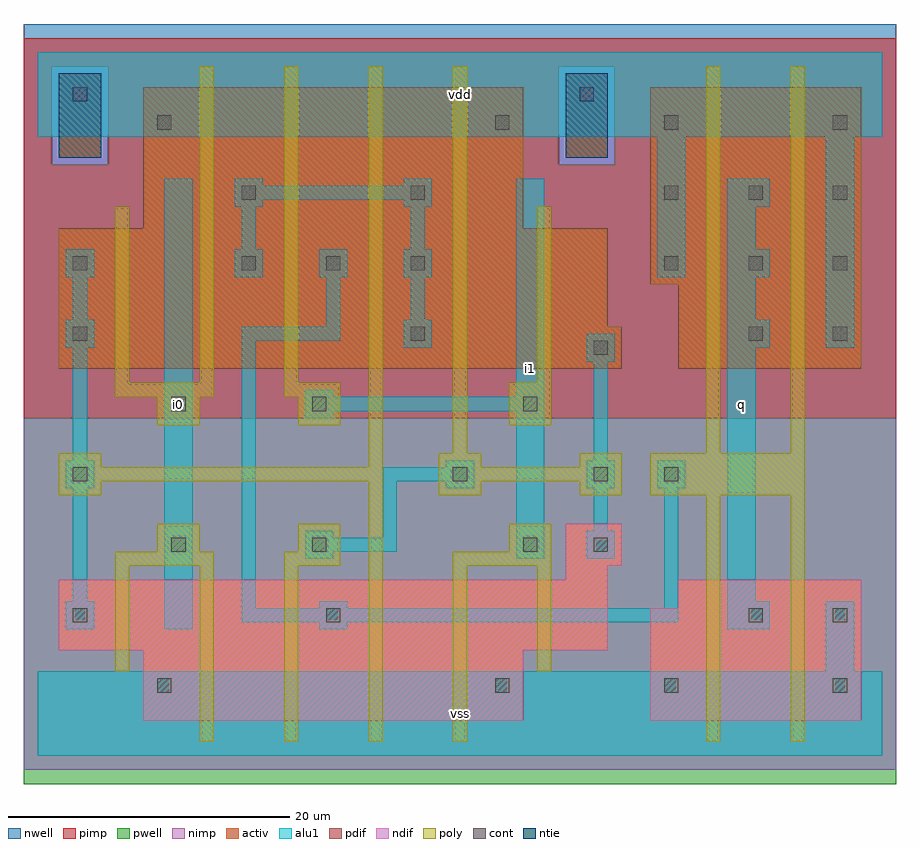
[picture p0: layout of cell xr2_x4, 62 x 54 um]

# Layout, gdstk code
import gdstk
lib = gdstk.Library(unit=1e-6, precision=1e-09)
def R(c, l, rs):  # rectangles x0, y0, x1, y1
    for r in rs: c.add(gdstk.rectangle(r[:2], r[2:], *l))
def A(c, l, x, y, w, h, nx, ny, dx, dy):  # array of equal rectangles
    R(c, l, [(x+i*dx, y+j*dy, x+i*dx+w, y+j*dy+h) for i in range(nx) for j in range(ny)])
ndif = (3, 0)
pdif = (4, 0)
ntie = (5, 0)
cont = (25, 0)
pwell = (41, 0)
nwell = (42, 0)
activ = (43, 0)
pimp = (44, 0)
nimp = (45, 0)
poly = (46, 0)
alu1 = (49, 0)

xr2_x4 = lib.new_cell('xr2_x4')
R(xr2_x4, ndif, [(7.5,2.5,34.5,7.5), (43.5,2.5,58.5,10.5), (1.5,7.5,40.5,12.5), (45.5,10.5,58.5,12.5), (37.5,12.5,40.5,13.5), (37.5,13.5,41.5,16.5)])
R(xr2_x4, pdif, [(1.5,27.5,41.5,30.5), (45.5,27.5,58.5,33.5), (1.5,30.5,40.5,37.5), (43.5,33.5,58.5,47.5), (7.5,37.5,34.5,47.5)])
R(xr2_x4, ntie, [(1.5,42.5,4.5,48.5), (37.5,42.5,40.5,48.5)])
A(xr2_x4, cont, 32.5, 4.5, 1, 1, 3, 2, 12, 40)
A(xr2_x4, cont, 2.5, 29.5, 1, 1, 3, 1, 24, 0)
A(xr2_x4, cont, 14.5, 34.5, 1, 1, 3, 1, 6, 0)
A(xr2_x4, cont, 44.5, 34.5, 1, 1, 3, 2, 6, 5)
R(xr2_x4, cont, [(8.5,4.5,9.5,5.5), (2.5,9.5,3.5,10.5), (20.5,9.5,21.5,10.5), (50.5,9.5,51.5,10.5), (56.5,9.5,57.5,10.5), (9.5,14.5,10.5,15.5), (19.5,14.5,20.5,15.5), (34.5,14.5,35.5,15.5), (39.5,14.5,40.5,15.5), (2.5,19.5,3.5,20.5), (29.5,19.5,30.5,20.5), (39.5,19.5,40.5,20.5), (44.5,19.5,45.5,20.5), (9.5,24.5,10.5,25.5), (19.5,24.5,20.5,25.5), (34.5,24.5,35.5,25.5), (39.5,28.5,40.5,29.5), (56.5,29.5,57.5,30.5), (2.5,34.5,3.5,35.5), (14.5,39.5,15.5,40.5), (26.5,39.5,27.5,40.5), (8.5,44.5,9.5,45.5), (2.5,46.5,3.5,47.5), (38.5,46.5,39.5,47.5)])
R(xr2_x4, pwell, [(-1,-2,61,24)])
R(xr2_x4, nwell, [(-1,24,61,52)])
R(xr2_x4, activ, [(7.5,2.5,34.5,7.5), (43.5,2.5,58.5,10.5), (1.5,7.5,40.5,12.5), (45.5,10.5,58.5,12.5), (37.5,12.5,40.5,13.5), (37.5,13.5,41.5,16.5), (1.5,27.5,41.5,30.5), (45.5,27.5,58.5,33.5), (1.5,30.5,40.5,37.5), (43.5,33.5,58.5,47.5), (7.5,37.5,34.5,47.5), (1.5,42.5,4.5,48.5), (37.5,42.5,40.5,48.5)])
R(xr2_x4, pimp, [(-1,24,61,42), (-1,42,1,49), (5,42,37,49), (41,42,61,49), (-1,49,61,51)])
R(xr2_x4, nimp, [(-1,-1,61,24), (1,42,5,49), (37,42,41,49)])
R(xr2_x4, poly, [(11.5,1,12.5,13.5), (17.5,1,18.5,13.5), (23.5,1,24.5,19.5), (29.5,1,30.5,13.5), (47.5,1,48.5,18.5), (53.5,1,54.5,18.5), (5.5,6,6.5,13.5), (35.5,6,36.5,13.5), (5.5,13.5,12.5,14.5), (17.5,13.5,21.5,14.5), (29.5,13.5,36.5,14.5), (8.5,14.5,11.5,16.5), (18.5,14.5,21.5,16.5), (33.5,14.5,36.5,16.5), (1.5,18.5,4.5,19.5), (28.5,18.5,31.5,19.5), (38.5,18.5,41.5,19.5), (43.5,18.5,54.5,21.5), (1.5,19.5,24.5,20.5), (28.5,19.5,41.5,20.5), (1.5,20.5,4.5,21.5), (23.5,20.5,24.5,49), (28.5,20.5,31.5,21.5), (38.5,20.5,41.5,21.5), (29.5,21.5,30.5,49), (47.5,21.5,48.5,49), (53.5,21.5,54.5,49), (8.5,23.5,11.5,25.5), (18.5,23.5,21.5,25.5), (33.5,23.5,36.5,26.5), (5.5,25.5,12.5,26.5), (17.5,25.5,21.5,26.5), (5.5,26.5,6.5,39), (11.5,26.5,12.5,49), (17.5,26.5,18.5,49), (35.5,26.5,36.5,39)])
A(xr2_x4, alu1, 2, 9, 2, 2, 1, 3, 0, 10)
A(xr2_x4, alu1, 49, 29, 3, 2, 1, 3, 0, 5)
A(xr2_x4, alu1, 14, 34, 2, 2, 3, 1, 6, 0)
R(xr2_x4, alu1, [(0,0,60,6), (56,6,58,11), (9,9,11,41), (20,9,22,9.5), (49,9,52,11), (14.5,9.5,45.5,10.5), (14.5,10.5,15.5,29.5), (20,10.5,22,11), (44.5,10.5,45.5,19), (2.5,11,3.5,19), (49,11,51,29), (19,14,21,14.5), (34,14,36,24.5), (39,14,41,16), (19,14.5,25.5,15.5), (19,15.5,21,16), (24.5,15.5,25.5,19.5), (39.5,16,40.5,19), (29,19,31,19.5), (39,19,41,21), (44,19,46,21), (24.5,19.5,31,20.5), (29,20.5,31,21), (2.5,21,3.5,29), (39.5,21,40.5,28), (19,24,21,24.5), (19,24.5,36,25.5), (19,25.5,21,26), (34,25.5,36,41), (39,28,41,30), (26,29,28,31), (56,29,58,44), (14.5,29.5,21.5,30.5), (20.5,30.5,21.5,34), (2.5,31,3.5,34), (26.5,31,27.5,34), (49,31,51,34), (2,34,4,36), (44,34,46,44), (14.5,36,15.5,39), (26.5,36,27.5,39), (49,36,51,39), (14,39,16,39.5), (26,39,28,39.5), (14,39.5,28,40.5), (14,40.5,16,41), (26,40.5,28,41), (0,44,60,50)])
xr2_x4.add(gdstk.Label('i0', (10,25), layer=49, texttype=0))
xr2_x4.add(gdstk.Label('vss', (30,3), layer=49, texttype=0))
xr2_x4.add(gdstk.Label('vdd', (30,47), layer=49, texttype=0))
xr2_x4.add(gdstk.Label('i1', (35,27.5), layer=49, texttype=0))
xr2_x4.add(gdstk.Label('q', (50,25), layer=49, texttype=0))

lib.write_gds('xr2_x4.gds')
